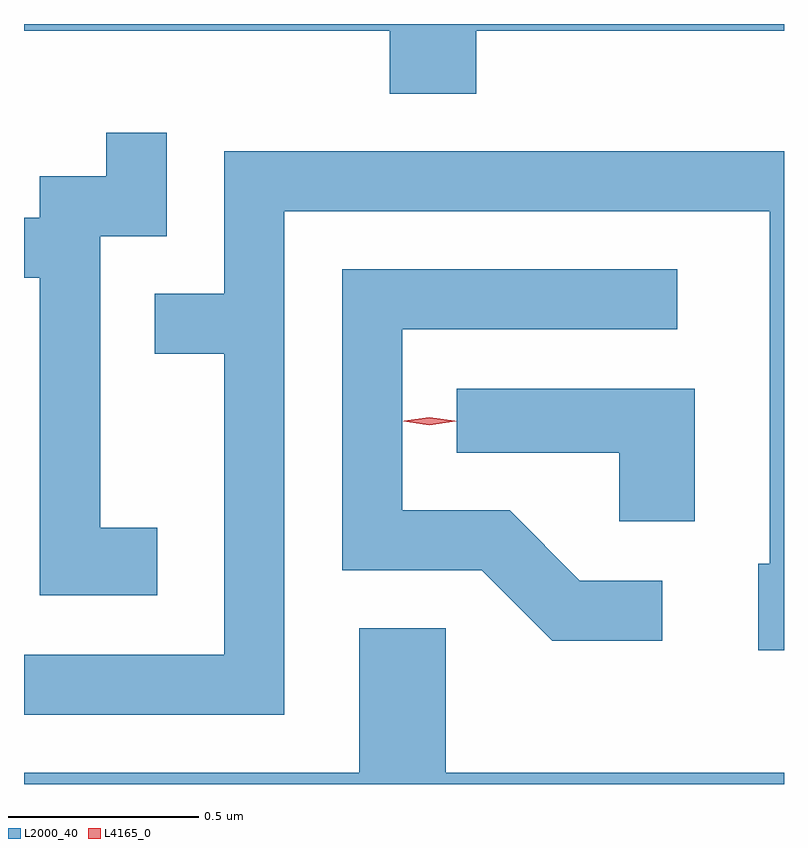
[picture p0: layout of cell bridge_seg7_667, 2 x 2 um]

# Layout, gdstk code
import gdstk
lib = gdstk.Library(unit=1e-6, precision=1e-09)
def P(c, l, *ps):  # polygons
    for p in ps: c.add(gdstk.Polygon(p, *l))
L2000_40 = (2000, 40)
L4165_0 = (4165, 0)

bridge_seg7_667 = lib.new_cell('bridge_seg7_667')
P(bridge_seg7_667, L2000_40, [(678.899,1696.556),(679.709,1696.556),(679.709,1696.574),(677.709,1696.574),(677.709,1696.556),(678.671,1696.556),(678.671,1696.391),(678.899,1696.391)],
  [(678.059,1695.249),(677.909,1695.249),(677.909,1696.016),(678.084,1696.016),(678.084,1696.288),(677.926,1696.288),(677.926,1696.174),(677.751,1696.174),(677.751,1696.064),(677.709,1696.064),(677.709,1695.906),(677.751,1695.906),(677.751,1695.071),(678.059,1695.071)],
  [(678.394,1696.081),(679.671,1696.081),(679.671,1695.154),(679.641,1695.154),(679.641,1694.926),(679.709,1694.926),(679.709,1696.239),(678.236,1696.239),(678.236,1695.864),(678.053,1695.864),(678.053,1695.706),(678.236,1695.706),(678.236,1694.914),(677.709,1694.914),(677.709,1694.756),(678.394,1694.756)],
  [(679.388,1695.109),(679.172,1695.109),(678.987,1695.294),(678.704,1695.294),(678.704,1695.771),(679.428,1695.771),(679.428,1695.929),(678.546,1695.929),(678.546,1695.136),(678.914,1695.136),(679.099,1694.951),(679.388,1694.951)],
  [(679.474,1695.614),(678.848,1695.614),(678.848,1695.446),(679.276,1695.446),(679.276,1695.266),(679.474,1695.266)],
  [(679.709,1694.604),(678.819,1694.604),(678.819,1694.984),(678.591,1694.984),(678.591,1694.604),(677.709,1694.604),(677.709,1694.574),(679.709,1694.574)])
P(bridge_seg7_667, L4165_0, [(678.776,1695.518),(678.707,1695.528),(678.707,1695.528),(678.707,1695.529),(678.776,1695.538),(678.845,1695.529),(678.846,1695.528),(678.845,1695.528)],
  [(678.776,1695.519),(678.71,1695.528),(678.709,1695.529),(678.71,1695.53),(678.776,1695.539),(678.842,1695.53),(678.843,1695.529),(678.842,1695.528)])

lib.write_gds('bridge_seg7_667.gds')
